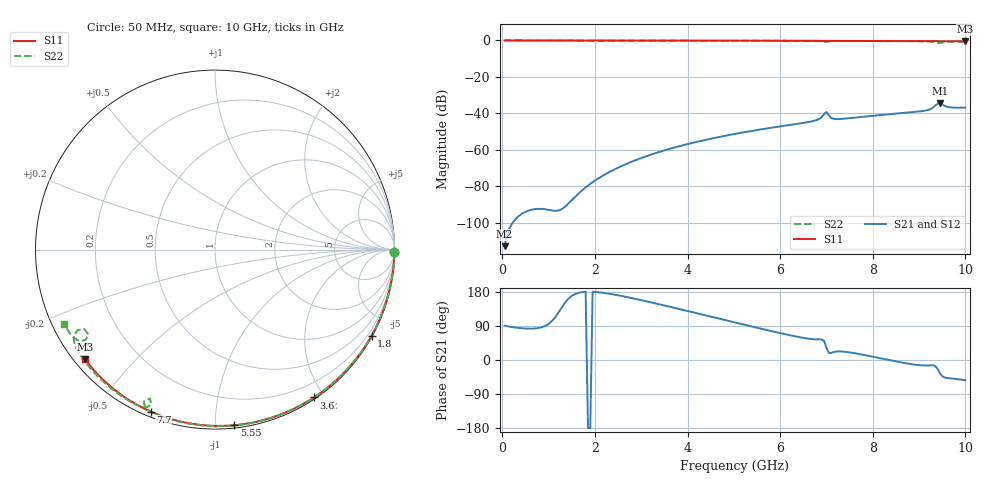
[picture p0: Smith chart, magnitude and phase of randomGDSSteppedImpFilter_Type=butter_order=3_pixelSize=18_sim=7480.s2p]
! freq	dB(S11)	phase(S11)	dB(S12)	phase(S12)
!  dB(S21)	phase(S21)	dB(S22)	phase(S22)
!S-par simulation data
#  GHz  S  DB  R 50
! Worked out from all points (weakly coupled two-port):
!   200 points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, 50 MHz to 10 GHz, reference 50 ohm
!   highest |S21| = -34.38 dB at 9.45 GHz (marker M1); lowest = -112.7 dB at 50 MHz (marker M2)
!   lowest |S11| = -0.5 dB at 10 GHz (marker M3), VSWR 36.87, Z = 1.54 - j18.2 ohm
!   |S11| at or under -10 dB: nowhere
!   |S22| runs from -1.4 to 0.0 dB; largest |S21 - S12| = 0
!   S11 on the Smith chart (normalised r, x): 50 MHz: open; 1.8 GHz: 0.03, -3.90; 3.6 GHz: 0.02, -1.87; 5.55 GHz: 0.02, -1.12; 7.7 GHz: 0.02, -0.68; 10 GHz: 0.03, -0.36
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0.05  -0.00 -0.8  -112.73 90.9  -112.73 90.9  -0.00 -0.9
0.9  -0.02 -14.5  -92.41 88.4  -92.41 88.4  -0.02 -16.2
1.75  -0.04 -28.0  -81.56 179.4  -81.56 179.4  -0.04 -31.2
1.8  -0.04 -28.8  -80.52 180.0  -80.52 180.0  -0.04 -32.1
2.5  -0.05 -39.6  -69.71 170.7  -69.71 170.7  -0.06 -44.1
3.4  -0.07 -53.2  -61.03 146.8  -61.03 146.8  -0.08 -59.1
3.6  -0.08 -56.2  -59.52 141.0  -59.52 141.0  -0.08 -62.4
5.05  -0.12 -76.9  -51.09 98.3  -51.09 98.3  -0.13 -85.2
5.55  -0.14 -83.7  -48.88 83.7  -48.88 83.7  -0.15 -92.8
6.7  -0.19 -99.0  -44.25 55.0  -44.25 55.0  -0.23 -110.2
6.85  -0.20 -100.9  -42.92 54.5  -42.92 54.5  -0.30 -113.0
6.95  -0.21 -102.2  -40.31 49.8  -40.31 49.8  -0.59 -115.1
7  -0.21 -102.8  -39.20 32.3  -39.20 32.3  -0.87 -113.6
7.1  -0.21 -104.1  -42.38 18.7  -42.38 18.7  -0.39 -113.3
7.15  -0.22 -104.7  -42.93 20.8  -42.93 20.8  -0.32 -114.4
7.7  -0.26 -111.7  -42.05 15.9  -42.05 15.9  -0.29 -123.2
8.35  -0.31 -119.8  -40.46 -0.1  -40.46 -0.1  -0.34 -132.6
9.15  -0.38 -129.6  -38.34 -14.5  -38.34 -14.5  -0.49 -145.2
9.35  -0.40 -132.0  -35.70 -16.0  -35.70 -16.0  -1.02 -149.6
9.45  -0.41 -133.2  -34.38 -35.0  -34.38 -35.0  -1.42 -146.1
9.65  -0.43 -135.7  -36.58 -48.0  -36.58 -48.0  -0.67 -147.8
10  -0.47 -139.9  -36.79 -53.5  -36.79 -53.5  -0.57 -153.8
